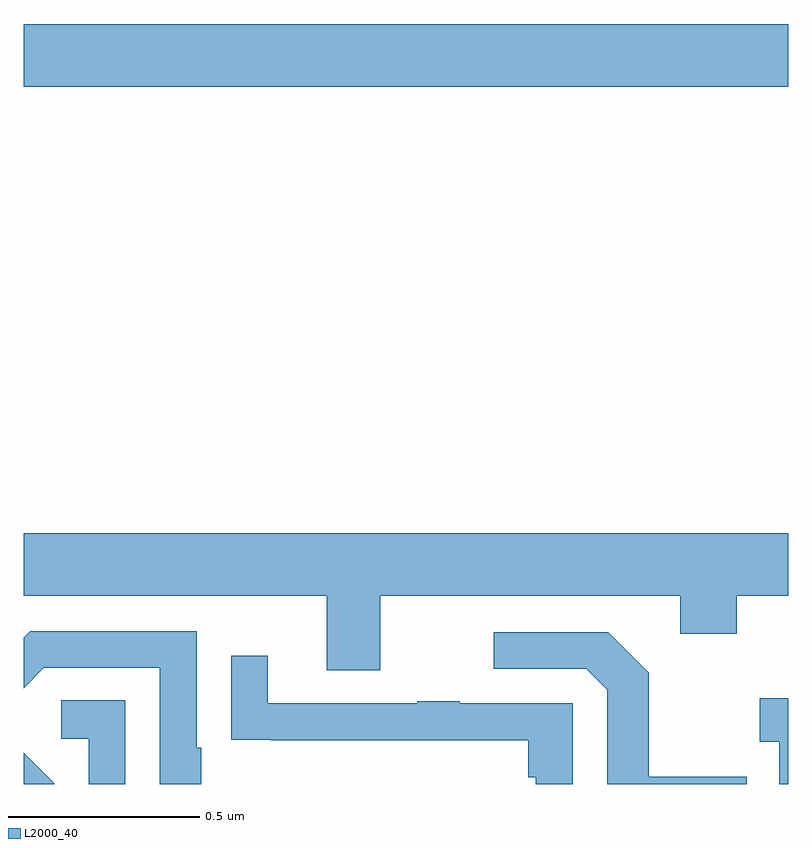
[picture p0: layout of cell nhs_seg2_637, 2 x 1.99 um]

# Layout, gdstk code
import gdstk
lib = gdstk.Library(unit=1e-6, precision=1e-09)
def R(c, l, rs):  # rectangles x0, y0, x1, y1
    for r in rs: c.add(gdstk.rectangle(r[:2], r[2:], *l))
def P(c, l, *ps):  # polygons
    for p in ps: c.add(gdstk.Polygon(p, *l))
L2000_40 = (2000, 40)

nhs_seg2_637 = lib.new_cell('nhs_seg2_637')
R(nhs_seg2_637, L2000_40, [(118,659.624,120,659.788)])
P(nhs_seg2_637, L2000_40, [(118.933,658.292),(119.717,658.292),(119.717,658.193),(119.865,658.193),(119.865,658.292),(120,658.292),(120,658.456),(118,658.456),(118,658.292),(118.793,658.292),(118.793,658.098),(118.933,658.098)],
  [(118.465,657.895),(118.452,657.895),(118.452,658.2),(118.017,658.2),(118,658.183),(118,658.051),(118.053,658.104),(118.356,658.104),(118.356,657.8),(118.465,657.8)],
  [(119.891,657.819),(119.635,657.819),(119.635,658.091),(119.529,658.197),(119.229,658.197),(119.229,658.101),(119.472,658.101),(119.526,658.047),(119.526,657.8),(119.891,657.8)],
  [(119.436,658.011),(119.141,658.011),(119.141,658.016),(119.029,658.016),(119.029,658.011),(118.639,658.011),(118.639,658.135),(118.543,658.135),(118.543,657.916),(118.645,657.916),(118.645,657.915),(119.32,657.915),(119.32,657.818),(119.34,657.818),(119.34,657.8),(119.436,657.8)],
  [(120,658.024),(119.925,658.024),(119.925,657.911),(119.976,657.911),(119.976,657.8),(120,657.8)],
  [(118.266,658.019),(118.098,658.019),(118.098,657.918),(118.17,657.918),(118.17,657.8),(118.266,657.8)],
  [(118.08,657.802),(118,657.882),(118,657.8),(118.08,657.8)])

lib.write_gds('nhs_seg2_637.gds')
